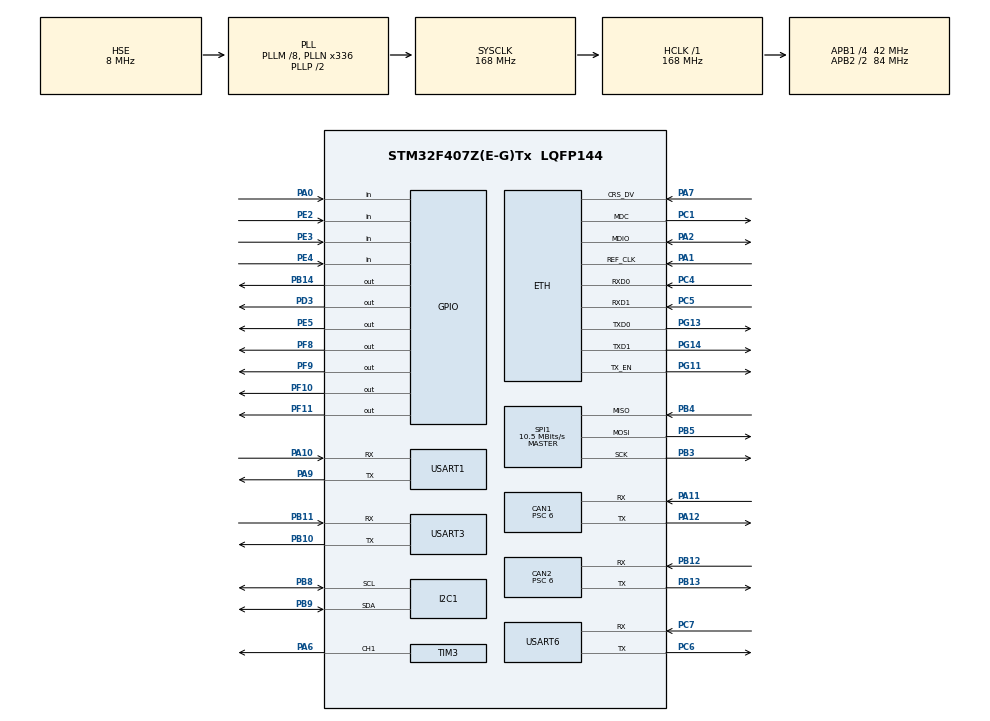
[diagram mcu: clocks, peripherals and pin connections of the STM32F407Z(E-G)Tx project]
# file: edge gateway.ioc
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CAN1.AutoBusOff=ENABLE
CAN1.BS1=CAN_BS1_11TQ
CAN1.BS2=CAN_BS2_2TQ
CAN1.CalculateBaudRate=500000
CAN1.CalculateTimeBit=2000
CAN1.CalculateTimeQuantum=142.85714285714286
CAN1.Prescaler=6
CAN2.AutoBusOff=ENABLE
CAN2.BS1=CAN_BS1_11TQ
CAN2.BS2=CAN_BS2_2TQ
CAN2.CalculateBaudRate=500000
CAN2.CalculateTimeBit=2000
CAN2.CalculateTimeQuantum=142.85714285714286
CAN2.Prescaler=6
Dma.Request0=USART6_RX
Dma.Request1=USART6_TX
Dma.USART6_RX.0.Direction=DMA_PERIPH_TO_MEMORY
Dma.USART6_RX.0.FIFOMode=DMA_FIFOMODE_DISABLE
Dma.USART6_RX.0.Instance=DMA2_Stream1
Dma.USART6_RX.0.MemDataAlignment=DMA_MDATAALIGN_BYTE
Dma.USART6_RX.0.MemInc=DMA_MINC_ENABLE
Dma.USART6_RX.0.Mode=DMA_CIRCULAR
Dma.USART6_RX.0.PeriphDataAlignment=DMA_PDATAALIGN_BYTE
Dma.USART6_RX.0.PeriphInc=DMA_PINC_DISABLE
Dma.USART6_RX.0.Priority=DMA_PRIORITY_LOW
Dma.USART6_TX.1.Direction=DMA_MEMORY_TO_PERIPH
Dma.USART6_TX.1.FIFOMode=DMA_FIFOMODE_DISABLE
Dma.USART6_TX.1.Instance=DMA2_Stream6
Dma.USART6_TX.1.MemDataAlignment=DMA_MDATAALIGN_BYTE
Dma.USART6_TX.1.MemInc=DMA_MINC_ENABLE
Dma.USART6_TX.1.Mode=DMA_NORMAL
Dma.USART6_TX.1.PeriphDataAlignment=DMA_PDATAALIGN_BYTE
Dma.USART6_TX.1.PeriphInc=DMA_PINC_DISABLE
Dma.USART6_TX.1.Priority=DMA_PRIORITY_LOW
ETH.MediaInterface=HAL_ETH_RMII_MODE
ETH.RxMode=ETH_RXINTERRUPT_MODE
FREERTOS.Tasks01=defaultTask,24,128,StartDefaultTask,Default,NULL,Dynamic,NULL,NULL
FREERTOS.configCHECK_FOR_STACK_OVERFLOW=2
FREERTOS.configTIMER_TASK_PRIORITY=5
FREERTOS.configTOTAL_HEAP_SIZE=20480
I2C1.I2C_Speed_Mode=I2C_SPEED_STANDARD_MODE
I2C1.Speed=100000
IWDG.Prescaler=IWDG_PRESCALER_32
IWDG.Reload=2000
LWIP.GATEWAY_ADDRESS=192.168.1.1
LWIP.IP_ADDRESS=192.168.1.30
LWIP.LWIP_DHCP=0
LWIP.LWIP_NETIF_EXT_STATUS_CALLBACK=1
LWIP.LWIP_NETIF_STATUS_CALLBACK=1
LWIP.LWIP_SO_RCVTIMEO=1
LWIP.MEMP_NUM_TCP_PCB=10
LWIP.MEMP_NUM_TCP_PCB_LISTEN=10
LWIP.MEMP_NUM_TCP_SEG=32
LWIP.MEM_SIZE=12288
LWIP.NETMASK_ADDRESS=255.255.255.0
LWIP.PBUF_POOL_BUFSIZE=1524
LWIP.PBUF_POOL_SIZE=24
LWIP.TCP_MSS=1460
LWIP.TCP_SND_BUF=8192
LWIP.TCP_SND_QUEUELEN=16
LWIP.TCP_WND=8192
LWIP.Version=v2.1.2_Cube
Mcu.Family=STM32F4
Mcu.Name=STM32F407Z(E-G)Tx
Mcu.Package=LQFP144
NVIC.CAN1_RX0_IRQn=true\:5\:0\:false\:false\:true\:true\:true\:true\:true
NVIC.CAN1_TX_IRQn=true\:5\:0\:false\:false\:true\:true\:true\:true\:true
NVIC.CAN2_RX0_IRQn=true\:5\:0\:false\:false\:true\:true\:true\:true\:true
NVIC.CAN2_TX_IRQn=true\:5\:0\:false\:false\:true\:true\:true\:true\:true
NVIC.DMA2_Stream1_IRQn=true\:5\:0\:false\:false\:true\:true\:false\:true\:true
NVIC.DMA2_Stream6_IRQn=true\:5\:0\:false\:false\:true\:true\:false\:true\:true
NVIC.ETH_IRQn=true\:5\:0\:true\:false\:true\:true\:false\:true\:true
NVIC.PriorityGroup=NVIC_PRIORITYGROUP_4
NVIC.TIM1_UP_TIM10_IRQn=true\:15\:0\:false\:false\:true\:false\:false\:true\:true
NVIC.TimeBase=TIM1_UP_TIM10_IRQn
NVIC.TimeBaseIP=TIM1
NVIC.USART1_IRQn=true\:5\:0\:false\:false\:true\:true\:true\:true\:true
NVIC.USART3_IRQn=true\:5\:0\:false\:false\:true\:true\:true\:true\:true
NVIC.USART6_IRQn=true\:5\:0\:false\:false\:true\:true\:false\:true\:true
PA0-WKUP.GPIO_PuPd=GPIO_PULLDOWN
PA0-WKUP.Signal=GPIO_Input
PA1.Mode=RMII
PA1.Signal=ETH_REF_CLK
PA10.Mode=Asynchronous
PA10.Signal=USART1_RX
PA11.Mode=CAN_Activate
PA11.Signal=CAN1_RX
PA12.Mode=CAN_Activate
PA12.Signal=CAN1_TX
PA13.Mode=Serial_Wire
PA13.Signal=SYS_JTMS-SWDIO
PA14.Mode=Serial_Wire
PA14.Signal=SYS_JTCK-SWCLK
PA2.Mode=RMII
PA2.Signal=ETH_MDIO
PA6.Signal=S_TIM3_CH1
PA7.Mode=RMII
PA7.Signal=ETH_CRS_DV
PA9.Mode=Asynchronous
PA9.Signal=USART1_TX
PB10.Mode=Asynchronous
PB10.Signal=USART3_TX
PB11.Mode=Asynchronous
PB11.Signal=USART3_RX
PB12.Mode=CAN_Activate
PB12.Signal=CAN2_RX
PB13.Mode=CAN_Activate
PB13.Signal=CAN2_TX
PB14.Signal=GPIO_Output
PB3.Mode=Full_Duplex_Master
PB3.Signal=SPI1_SCK
PB4.Mode=Full_Duplex_Master
PB4.Signal=SPI1_MISO
PB5.Mode=Full_Duplex_Master
PB5.Signal=SPI1_MOSI
PB8.Mode=I2C
PB8.Signal=I2C1_SCL
PB9.Mode=I2C
PB9.Signal=I2C1_SDA
PC1.Mode=RMII
PC1.Signal=ETH_MDC
PC4.Mode=RMII
PC4.Signal=ETH_RXD0
PC5.Mode=RMII
PC5.Signal=ETH_RXD1
PC6.Mode=Asynchronous
PC6.Signal=USART6_TX
PC7.Mode=Asynchronous
PC7.Signal=USART6_RX
PD3.Signal=GPIO_Output
PE2.GPIO_PuPd=GPIO_PULLUP
PE2.Signal=GPIO_Input
PE3.GPIO_PuPd=GPIO_PULLUP
PE3.Signal=GPIO_Input
PE4.GPIO_PuPd=GPIO_PULLUP
PE4.Signal=GPIO_Input
PE5.Signal=GPIO_Output
PF10.Signal=GPIO_Output
PF11.Signal=GPIO_Output
PF8.Signal=GPIO_Output
PF9.Signal=GPIO_Output
PG11.Mode=RMII
PG11.Signal=ETH_TX_EN
PG13.Mode=RMII
PG13.Signal=ETH_TXD0
PG14.Mode=RMII
PG14.Signal=ETH_TXD1
PH0-OSC_IN.Mode=HSE-External-Oscillator
PH0-OSC_IN.Signal=RCC_OSC_IN
PH1-OSC_OUT.Mode=HSE-External-Oscillator
PH1-OSC_OUT.Signal=RCC_OSC_OUT
ProjectManager.HeapSize=0x1000
ProjectManager.StackSize=0x1000
ProjectManager.TargetToolchain=MDK-ARM V5.32
RCC.48MHZClocksFreq_Value=84000000
RCC.AHBFreq_Value=168000000
RCC.APB1CLKDivider=RCC_HCLK_DIV4
RCC.APB1Freq_Value=42000000
RCC.APB1TimFreq_Value=84000000
RCC.APB2CLKDivider=RCC_HCLK_DIV2
RCC.APB2Freq_Value=84000000
RCC.APB2TimFreq_Value=168000000
RCC.CortexFreq_Value=168000000
RCC.HCLKFreq_Value=168000000
RCC.HSE_VALUE=8000000
RCC.HSI_VALUE=16000000
RCC.LSE_VALUE=32768
RCC.PLLM=8
RCC.PLLN=336
RCC.PLLSourceVirtual=RCC_PLLSOURCE_HSE
RCC.SYSCLKFreq_VALUE=168000000
RCC.SYSCLKSource=RCC_SYSCLKSOURCE_PLLCLK
RCC.VCOOutputFreq_Value=336000000
SH.S_TIM3_CH1.0=TIM3_CH1,PWM Generation1 CH1
SPI1.BaudRatePrescaler=SPI_BAUDRATEPRESCALER_8
SPI1.CLKPhase=SPI_PHASE_1EDGE
SPI1.CLKPolarity=SPI_POLARITY_LOW
SPI1.CRCCalculation=SPI_CRCCALCULATION_DISABLE
SPI1.CalculateBaudRate=10.5 MBits/s
SPI1.DataSize=SPI_DATASIZE_8BIT
SPI1.Direction=SPI_DIRECTION_2LINES
SPI1.FirstBit=SPI_FIRSTBIT_MSB
SPI1.Mode=SPI_MODE_MASTER
SPI1.NSS=SPI_NSS_SOFT
SPI1.VirtualType=VM_MASTER
TIM3.Channel-PWM\ Generation1\ CH1=TIM_CHANNEL_1
TIM3.Period=999
TIM3.Prescaler=83
USART1.VirtualMode=VM_ASYNC
USART3.VirtualMode=VM_ASYNC
USART6.VirtualMode=VM_ASYNC
VP_FREERTOS_VS_CMSIS_V2.Mode=CMSIS_V2
VP_IWDG_VS_IWDG.Mode=IWDG_Activate
VP_LWIP_VS_Enabled.Mode=Enabled
VP_SYS_VS_tim1.Mode=TIM1
VP_WWDG_VS_WWDG.Mode=WWDG_Activate
WWDG.Counter=127
WWDG.Prescaler=WWDG_PRESCALER_8
WWDG.Window=80
board=custom

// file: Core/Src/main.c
/* USER CODE BEGIN Header */
/**
  ******************************************************************************
  * @file           : main.c
  * @brief          : Main program body
  ******************************************************************************
  * @attention
  *
  * Copyright (c) 2026 STMicroelectronics.
  * All rights reserved.
  *
  * This software is licensed under terms that can be found in the LICENSE file
  * in the root directory of this software component.
  * If no LICENSE file comes with this software, it is provided AS-IS.
  *
  ******************************************************************************
  */
/* USER CODE END Header */
#include "main.h"
#include "cmsis_os.h"
#include "can.h"
#include "dma.h"
#include "i2c.h"
#include "iwdg.h"
#include "lwip.h"
#include "spi.h"
#include "tim.h"
#include "usart.h"
#include "wwdg.h"
#include "gpio.h"

void SystemClock_Config(void);
void MX_FREERTOS_Init(void);
/* USER CODE BEGIN PFP */
void MX_GPIO_PostInit(void);   /* 定义在 Core/Src/gpio.c 的 USER CODE 2 */
/* USER CODE END PFP */

/* USER CODE BEGIN 0 */
#include <stdio.h>
#include <string.h>
#include "m4_log.h"
#include "stm32f4xx_hal_wwdg.h"   /* HAL_WWDG_EnableIT()（main.h 没有间接带进来） */
#include "m5_wdg.h"
#include "m5_blackbox.h"
#include "m5_ota.h"
#include "m5_fan.h"
#include "shared/flash_layout.h"

/* printf 重定向到 USART1(PA9/PA10, 115200)。
   Keil 下请在 Options → Target 勾选 "Use MicroLIB"，否则链接时会报
   __stdout / _sys_exit 之类的半主机(semihosting)符号未定义错误。

   ⚠️ M4 改动（修 BUG-039）：
     原来这里是直接 HAL_UART_Transmit 轮询发送，没有任何保护 ——
     两个任务同时 printf 会互相插队，表现为丢行、错序（M1 实测时
     "[echo] listening on port 5000" 整行丢失就是这个原因），
     而且一行要阻塞 3~4ms，会把高优先级任务拖住。

     现在改走 m4_log 的环形缓冲：fputc 只做微秒级的入队，
     真正的串口发送交给一个低优先级任务（m4_log）慢慢发。 */
int fputc(int ch, FILE *f)
{
  M4_LogPutc((char)ch);
  return ch;
}

/*==============================================================================
 * M5 · 复位诊断：上电第一件事就是"交代上次是怎么死的"
 *
 * ⚠️ 为什么必须在所有外设初始化之前：
 *    RCC_CSR 的复位标志不会自动清，一旦 IWDG 启动并发生复位，
 *    你就再也读不到"第一次"的原因了。所以【上电立刻读 + 立刻清】。
 *
 * ⚠️ 用 HAL 的宏名，不要手写 bit 号 —— 不同系列 bit 位置不一样，
 *    抄错就是静默错误（读到 0 就显示"上电复位"，根本看不出异常）。
 *============================================================================*/
/* ⚠️ M5 修正（BUG-059）：原来"读标志 + 打印"写在一个函数里，而它在
 *    MX_USART1_UART_Init() 【之前】被调用 —— 那时 huart1.gState 还是
 *    HAL_UART_STATE_RESET，HAL_UART_Transmit() 会直接返回 HAL_BUSY，
 *    一个字节都发不出去，于是【上电第一行的 [rst] cause=... 永远看不到】。
 *
 *    所以拆成两步：
 *      ① snapshot_reset_cause() —— 上电立刻执行：读 RCC_CSR 并清标志（必须在
 *         IWDG 启动前，否则第一次死因会被后续复位覆盖）；结果只存进静态变量。
 *      ② print_reset_cause()    —— 在 UART 初始化完成后再打印（USER CODE BEGIN 2）。
 */
static const char *s_rst_cause = "UNKNOWN";
static int         s_rst_is_wdg;

static void snapshot_reset_cause(void)
{
  if      (__HAL_RCC_GET_FLAG(RCC_FLAG_IWDGRST)) { s_rst_cause = "IWDG";  s_rst_is_wdg = 1; }
  else if (__HAL_RCC_GET_FLAG(RCC_FLAG_WWDGRST)) { s_rst_cause = "WWDG";  s_rst_is_wdg = 1; }
  else if (__HAL_RCC_GET_FLAG(RCC_FLAG_PORRST))  { s_rst_cause = "POR(power-on)"; }
  else if (__HAL_RCC_GET_FLAG(RCC_FLAG_PINRST))  { s_rst_cause = "PIN(reset button)"; }
  else if (__HAL_RCC_GET_FLAG(RCC_FLAG_SFTRST))  { s_rst_cause = "SOFT(software/OTA)"; }
  else if (__HAL_RCC_GET_FLAG(RCC_FLAG_BORRST))  { s_rst_cause = "BOR(brown-out)"; }
  else if (__HAL_RCC_GET_FLAG(RCC_FLAG_LPWRRST)) { s_rst_cause = "LPWR"; }
  else                                           { s_rst_cause = "UNKNOWN"; s_rst_is_wdg = 0; }

  /* ⭐ 读完必须清，否则下次上电读到的是上上次的原因 */
  __HAL_RCC_CLEAR_RESET_FLAGS();
}

static void print_reset_cause(void)
{
  printf("[rst] cause=%s\r\n", s_rst_cause);

  /* 看门狗复位 → 把黑匣子打出来，这是排障的钥匙 */
  if (s_rst_is_wdg)
  {
    M5_BlackboxPrint();
  }
}
/* USER CODE END 0 */

int main(void)
{

  /* MCU Configuration--------------------------------------------------------*/

  /* Reset of all peripherals, Initializes the Flash interface and the Systick. */
  HAL_Init();

  /* Configure the system clock */
  SystemClock_Config();

  /* ⭐ M5：上电第一件事 —— 先把上次怎么死的【快照】下来（必须在 IWDG 启动前读标志）。
     这里只存不打印：UART 还没初始化，现在 printf 会一个字节都发不出去（BUG-059）。 */
  snapshot_reset_cause();

  /* Initialize all configured peripherals */
  MX_GPIO_Init();
  MX_DMA_Init();
  MX_USART1_UART_Init();
  MX_USART3_UART_Init();
  MX_USART6_UART_Init();
  MX_CAN1_Init();
  MX_CAN2_Init();
  MX_IWDG_Init();
  MX_TIM3_Init();
  /* ⭐ M5：WWDG 放开。
     喂狗点在 WWDG 的 EWI 中断回调里（m5_wdg.c 的 HAL_WWDG_EarlyWakeupCallback），
     由硬件节拍驱动，天然踩在窗口正中间，不存在"来不及喂"的问题。

     ⚠️ EWIMode=ENABLE 只是配了寄存器选项，【中断开关要单独开】：
        少了 HAL_WWDG_EnableIT() 这一行，WWDG 会永远在 ~50 ms 时复位。 */
#if M5_WWDG_ENABLE
  /* ⚠️ WWDG 默认关闭（M5_WWDG_ENABLE=0）—— 它与 OTA 擦 Flash 天然冲突：
     擦除期间 CPU 停摆 > 50 ms，EWI 进不来必然复位。详见 m5_wdg.h 的说明。
     做 WWDG 专项验证（M5-b）时把它置 1，且【不要同时做 OTA】。 */
  MX_WWDG_Init();
  /* ⚠️ 这个 HAL 版本【没有】HAL_WWDG_EnableIT() 函数（只有宏），
     实测链接会报 L6218E: Undefined symbol HAL_WWDG_EnableIT。
     EWI 中断位由 MX_WWDG_Init() 内部的
         MODIFY_REG(CFR, ..., Window | Prescaler | EWIMode)
     按 hwwdg.Init.EWIMode = WWDG_EWI_ENABLE 直接置好了，
     这里再用宏显式置一次（幂等，换 HAL 版本也不会漏）。 */
  __HAL_WWDG_ENABLE_IT(&hwwdg, WWDG_IT_EWI);
#endif /* M5_WWDG_ENABLE */
  /* ⚠️ NVIC 也要单独开：HAL_WWDG_EnableIT() 只置了 WWDG 的 CFR 寄存器位，
     不会帮你开 NVIC 通道。缺这两行 → EWI 中断根本进不到 CPU。
     优先级给 0（最高）：喂狗中断被别的中断堵住就等于没喂。 */
  HAL_NVIC_SetPriority(WWDG_IRQn, 0, 0);
  HAL_NVIC_EnableIRQ(WWDG_IRQn);
  MX_I2C1_Init();
  MX_SPI1_Init();
  /* USER CODE BEGIN 2 */
  /* 修正 CubeMX 一律生成低电平的那几个输出脚（片选/方向/LED/继电器）。
     必须在 MX_GPIO_Init() 之后调用，见 gpio.c 里的说明。 */
  MX_GPIO_PostInit();

  /* ⭐ M5：到这里 UART 已经初始化完毕，把开头快照到的复位原因真正打出来。
     ⚠️ 顺序不能反：早于 UART 初始化打印 = 静默丢失（HAL_UART_Transmit 返回 HAL_BUSY）。 */
  print_reset_cause();

  /* ⭐ M5：看门狗裁决器 + OTA 状态 + PWM 风扇 的初始化。
     ⚠️ 顺序：必须在【创建任务之前】完成，
        否则任务一跑起来就可能用到还没初始化的模块（尤其是喂狗裁决器）。 */
  M5_WdgInit();
  M5_OtaInit();
  M5_FanInit();

  /* USER CODE END 2 */

  /* Init scheduler */
  osKernelInitialize();  /* Call init function for freertos objects (in cmsis_os2.c) */
  MX_FREERTOS_Init();

  /* Start scheduler */
  osKernelStart();

  /* We should never get here as control is now taken by the scheduler */

  /* Infinite loop */
  while (1)
  {

  }
}

void SystemClock_Config(void)
{
  RCC_OscInitTypeDef RCC_OscInitStruct = {0};
  RCC_ClkInitTypeDef RCC_ClkInitStruct = {0};

  /** Configure the main internal regulator output voltage
  */
  __HAL_RCC_PWR_CLK_ENABLE();
  __HAL_PWR_VOLTAGESCALING_CONFIG(PWR_REGULATOR_VOLTAGE_SCALE1);

  /** Initializes the RCC Oscillators according to the specified parameters
  * in the RCC_OscInitTypeDef structure.
  */
  RCC_OscInitStruct.OscillatorType = RCC_OSCILLATORTYPE_LSI|RCC_OSCILLATORTYPE_HSE;
  RCC_OscInitStruct.HSEState = RCC_HSE_ON;
  RCC_OscInitStruct.LSIState = RCC_LSI_ON;
  RCC_OscInitStruct.PLL.PLLState = RCC_PLL_ON;
  RCC_OscInitStruct.PLL.PLLSource = RCC_PLLSOURCE_HSE;
  RCC_OscInitStruct.PLL.PLLM = 8;
  RCC_OscInitStruct.PLL.PLLN = 336;
  RCC_OscInitStruct.PLL.PLLP = RCC_PLLP_DIV2;
  RCC_OscInitStruct.PLL.PLLQ = 4;
  if (HAL_RCC_OscConfig(&RCC_OscInitStruct) != HAL_OK)
  {
    Error_Handler();
  }

  /** Initializes the CPU, AHB and APB buses clocks
  */
  RCC_ClkInitStruct.ClockType = RCC_CLOCKTYPE_HCLK|RCC_CLOCKTYPE_SYSCLK
                              |RCC_CLOCKTYPE_PCLK1|RCC_CLOCKTYPE_PCLK2;
  RCC_ClkInitStruct.SYSCLKSource = RCC_SYSCLKSOURCE_PLLCLK;
  RCC_ClkInitStruct.AHBCLKDivider = RCC_SYSCLK_DIV1;
  RCC_ClkInitStruct.APB1CLKDivider = RCC_HCLK_DIV4;
  RCC_ClkInitStruct.APB2CLKDivider = RCC_HCLK_DIV2;

  if (HAL_RCC_ClockConfig(&RCC_ClkInitStruct, FLASH_LATENCY_5) != HAL_OK)
  {
    Error_Handler();
  }
}

void HAL_TIM_PeriodElapsedCallback(TIM_HandleTypeDef *htim)
{
  if (htim->Instance == TIM1)
  {
    HAL_IncTick();
  }
}

void Error_Handler(void)
{
  __disable_irq();
  while (1)
  {
  }
}

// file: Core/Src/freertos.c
/* USER CODE BEGIN Header */
/**
  ******************************************************************************
  * File Name          : freertos.c
  * Description        : Code for freertos applications
  ******************************************************************************
  * @attention
  *
  * Copyright (c) 2026 STMicroelectronics.
  * All rights reserved.
  *
  * This software is licensed under terms that can be found in the LICENSE file
  * in the root directory of this software component.
  * If no LICENSE file comes with this software, it is provided AS-IS.
  *
  ******************************************************************************
  */
/* USER CODE END Header */

#include "FreeRTOS.h"
#include "task.h"
#include "main.h"
#include "cmsis_os.h"

/* USER CODE BEGIN Includes */
#include "iwdg.h"   /* HAL_IWDG_Refresh / hiwdg */
#include "m1_net.h"   /* M1：以太网应用任务入口 */
#include "m2_master.h" /* M2：Modbus RTU 主站轮询任务入口 */
#include "m3_can.h"   /* M3：CAN 驱动与双 CAN 网关任务入口 */
#include "m4_log.h"   /* M4：日志（环形缓冲 printf，修 BUG-039） */
#include "m4_pool.h"  /* M4：统一数据池 */
#include "m4_task.h"  /* M4：监控任务 + 存活事件组 */
#include "m5_link.h"  /* M5：链路冗余（主备切换） */
#include "m5_wdg.h"   /* M5：看门狗裁决 */
#include "m6_store.h" /* M6：断网补传缓存（W25Q128） */
#include <stdio.h>  /* 栈溢出 hook 里要用 printf */
/* USER CODE END Includes */

/* USER CODE BEGIN Variables */

/* ⭐⭐ 固件版本号 —— 【每次做 OTA 验证都要改这里】
   ⚠️ 为什么必须改：OTA 下发一份和当前一模一样的固件时，
      切换成不成功从串口完全看不出来（输出一模一样），
      你就无法证明"Bootloader 真的完成了 B→A 拷贝"。
      改版本号后重启看 `[sys] fw=` 这一行，是 OTA 闭环的唯一铁证。
   当前：v1 = 基线（已备份 ota_backup/app_good_20261022.*）
        v2 = 第一次 OTA 验证用 */
#define FW_VER_STR   "v3-len-fix"

/* USER CODE END Variables */
/* Definitions for defaultTask */
osThreadId_t defaultTaskHandle;
const osThreadAttr_t defaultTask_attributes = {
  .name = "defaultTask",
  /* M1 调整 128*4(512B) → 256*4(1024B)：
     MX_LWIP_Init() 就在这个任务里调用，里面还有 PHY 地址扫描的 printf，
     ARMCC 的 printf 内部要吃掉 200~400 字节栈，512B 会溢出。 */
  .stack_size = 256 * 4,
  .priority = (osPriority_t) osPriorityNormal,
};

void StartDefaultTask(void *argument);

extern void MX_LWIP_Init(void);
void MX_FREERTOS_Init(void); /* (MISRA C 2004 rule 8.1) */

/* Hook prototypes */
void vApplicationStackOverflowHook(xTaskHandle xTask, signed char *pcTaskName);

/* USER CODE BEGIN 4 */
void vApplicationStackOverflowHook(xTaskHandle xTask, signed char *pcTaskName)
{
   /* 栈溢出时停在这里，串口打出任务名 —— 静默跑飞最难查 */
   printf("!! STACK OVERFLOW: %s\r\n", (char *)pcTaskName);
   taskDISABLE_INTERRUPTS();
   for (;;);
}
/* USER CODE END 4 */

void MX_FREERTOS_Init(void) {
  /* USER CODE BEGIN Init */
  /* 这条打印发生在调度器启动之前（还在 main 的上下文里）。
     它的唯一作用：当后面串口一片安静时，能分清是"系统压根没跑起来"
     还是"跑起来了但卡在某个地方"。 */
  /* ⚠️ 这条打印发生在调度器启动之前，会走 m4_log 的"直接阻塞发送"兜底路径
     （那时还没有任务概念，不能用环形缓冲）。这是故意的：
     当后面串口一片安静时，能分清是"系统压根没跑起来"还是"跑起来了但卡住了"。 */
  /* ⭐ OTA 验收用：把固件版本号打在启动第一行。
     ⚠️ 为什么必须要有这个：OTA 如果下发的是【和当前一模一样】的固件，
        切换成不成功从日志上完全看不出来 —— 串口输出一模一样，
        你无法区分"Bootloader 真的把 Bank B 拷到 Bank A 了"
        还是"根本没切换、只是又跑了一遍老固件"。
        所以每次做 OTA 验证都要先改这个版本号（v1 → v2 → v3 …），
        重启后看这一行变没变，就是 OTA 链路是否真的闭环的铁证。 */
  printf("[sys] fw=%s  build=%s %s\r\n", FW_VER_STR, __DATE__, __TIME__);
  printf("[sys] boot ok, FreeRTOS starting...\r\n");
  /* USER CODE END Init */

  /* Create the thread(s) */
  /* creation of defaultTask */
  defaultTaskHandle = osThreadNew(StartDefaultTask, NULL, &defaultTask_attributes);

  /* USER CODE BEGIN RTOS_THREADS */

  /* ---- M4-⓪ 日志：必须最先启动 ----
     之后所有任务的 printf 都会走环形缓冲（不再多任务重入丢行，见 BUG-039）。
     在它之前 printf 仍然可用，只是走阻塞发送兜底路径。 */
  M4_LogStart();

  /* ---- M4-① 数据池互斥量（幂等，多个模块都会调）---- */
  M4_PoolInit();

  /* ---- M5：链路冗余抽象层（必须在 m1_net_start 之前）----
     它内部会初始化 ESP8266（USART3 DMA + IDLE），并准备好"主/备/降级"三态。
     ⚠️ 顺序：m1_net_start() 里会把以太网的发送回调注册进 m5_link，
        所以 m5_link 必须先初始化好。 */
  M5_LinkInit();

  /* ---- M6：断网补传缓存（W25Q128 / SPI1 + PB14 片选）----
     ⚠️ 顺序：必须在 m1_net_start() 之前，这样上报任务第一帧发出去时
        缓存区已经可用（否则 DEGRADED 第一次触发时会漏掉缓存）。
     ⚠️ 为什么可以放在调度器启动【之前】：
        M6_StoreInit() 只做【读】（读 JEDEC ID + 扫描已有槽位），
        不擦不写，所以内部不会走到 w25q_wait_busy()（那里才用 osDelay）。
        256 个槽全扫一遍约 8~20 ms，这点启动延迟可以接受。
     ⚠️ 失败不会卡死：找不到 W25Q128 就打印一条并禁用缓存，
        系统退化成 M5 的"只计数"行为 —— 降级可用，不硬失败。 */
  M6_StoreInit();

  /* M1/M4：命令服务（TCP Server 5000）+ 周期上报（TCP Client 5001）。
     两个任务内部都会先等 netif 就绪，所以放在这里创建是安全的。 */
  m1_net_start();

  /* M2：Modbus RTU 主站轮询（RS485 / USART6 / 9600 8N1）。
     内部会 MB_Init() → RS485_Init()（开 DMA 循环接收 + IDLE 中断），
     所以必须放在调度器启动之后 —— 这里正好满足。 */
  /* TODO(M3-a)：M3 回环/对连测完必须取消下面的注释，把 M2 恢复回来 */
  // M2_MasterStart();

  /* M3：CAN 驱动 + 双 CAN 网关（CAN1 PA11/PA12，CAN2 PB12/PB13，500 kbps）。
     内部会重新 HAL_CAN_Init（改 AutoRetransmission / 回环模式）→ ConfigFilter
     → HAL_CAN_Start → ActivateNotification，必须晚于 MX_CAN1_Init / MX_CAN2_Init。
     ⚠️ 调 M3-a 回环自测前，建议先把上面 M2_MasterStart() 注释掉：
        M2 没接从机会一直刷 OFFLINE 日志，干扰观察。 */
  /* ⭐ M5-a 验收【已完成】：曾临时注释掉以制造 "missing 0x04 CAN"，
     实测链：10 s 宽限 → REFUSE to feed ×3 → IWDG 复位 → cause=IWDG
             → 黑匣子 miss=0x04 CAN、uptime=11s、reset_cnt 正确累加。
     ⚠️ 已恢复，不要再注释（除非重做该验收）。 */
  M3_CanStart();

  /* M4：系统监控任务（heap/栈余量/存活事件组/数据池摘要）。
     ⚠️ 放最后：它会立即开始读其他任务的栈水线，晚一点创建能避开
        "任务还没建好就被检查"的首轮误报。 */
  M4_TaskStart();
  /* USER CODE END RTOS_THREADS */

}

void StartDefaultTask(void *argument)
{
  /* init code for LWIP */
  MX_LWIP_Init();
  /* USER CODE BEGIN StartDefaultTask */
  /* 能打出来说明 HAL_ETH_Init / netif_add / tcpip_thread 全部走通了。
     如果串口只有 "[sys] boot ok" 而没有这一行，说明卡在 MX_LWIP_Init() 内部
     （最常见是 HAL_ETH_Init 里 DMA 软复位超时 → Error_Handler）。 */
  printf("[sys] LWIP init done\r\n");

  /* Infinite loop */
  for(;;)
  {
    /* ⭐ M5：这里的无脑喂狗【已删除】。
       它在 M1~M4 是临时修法（BUG-034），盲区很大：
       只要本任务在转就喂，其他任务全死光也发现不了 —— 形同虚设。
       现在喂狗由 m4_mon 每秒裁决（m5_wdg.c 的 M5_WdgKick），
       ⚠️ 全工程只有那一处 HAL_IWDG_Refresh()，多一处整套裁决就失效。

       本任务改做【链路守护】：每 200 ms 驱动一次 ESP8266 状态机 + 链路切换裁决。
       为什么不新建任务：FreeRTOS heap 只剩 ~8 KB，M5 不起新任务（见 M5 文档硬约束①）。 */
    M5_LinkTick(200u);

    osDelay(200);
  }
  /* USER CODE END StartDefaultTask */
}
